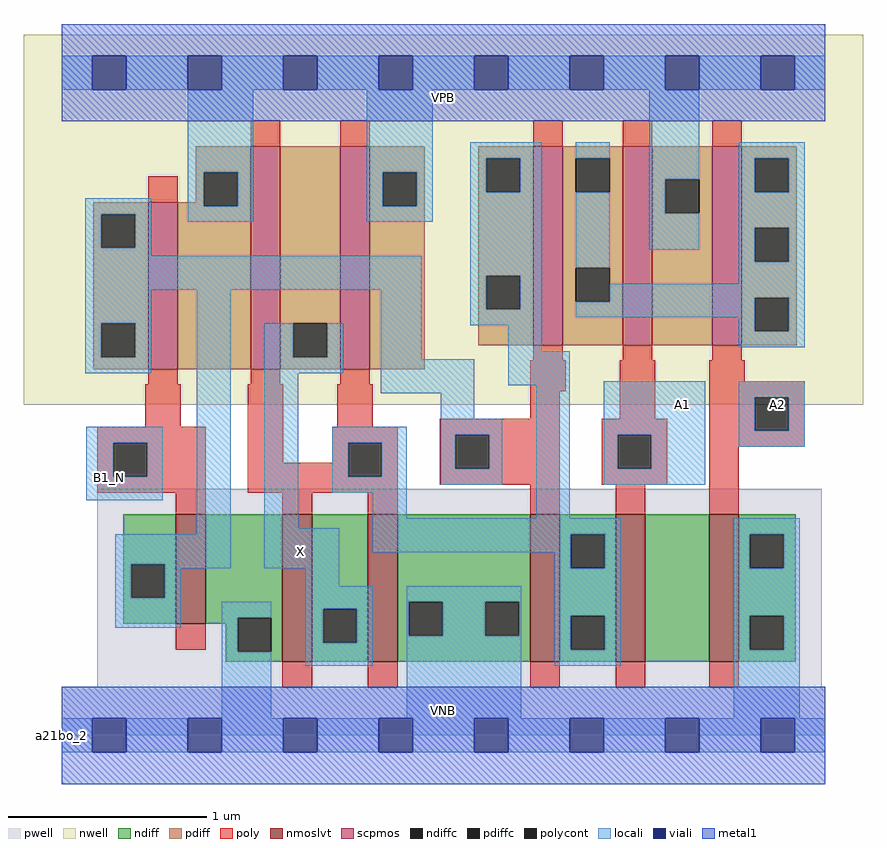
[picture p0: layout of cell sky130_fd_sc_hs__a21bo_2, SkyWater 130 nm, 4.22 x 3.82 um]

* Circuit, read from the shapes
.subckt sky130_fd_sc_hs__a21bo_2 A1 A2 B1_N VGND VNB VPB VPWR X
XM1 VGND B1_N n1 VNB sky130_fd_pr__nfet_01v8_lvt w=0.55 l=0.15
XM2 X n2 VGND VNB sky130_fd_pr__nfet_01v8_lvt w=0.74 l=0.15 m=2
XM3 n2 n1 VGND VNB sky130_fd_pr__nfet_01v8_lvt w=0.74 l=0.15
XM4 n3 A1 n2 VNB sky130_fd_pr__nfet_01v8_lvt w=0.74 l=0.15
XM5 VGND A2 n3 VNB sky130_fd_pr__nfet_01v8_lvt w=0.74 l=0.15
XM6 VPWR B1_N n1 VPB sky130_fd_pr__pfet_01v8 w=0.84 l=0.15
XM7 X n2 VPWR VPB sky130_fd_pr__pfet_01v8 w=1.12 l=0.15 m=2
XM8 n4 n1 n2 VPB sky130_fd_pr__pfet_01v8 w=1 l=0.15
XM9 VPWR A1 n4 VPB sky130_fd_pr__pfet_01v8 w=1 l=0.15
XM10 n4 A2 VPWR VPB sky130_fd_pr__pfet_01v8 w=1 l=0.15
.ends

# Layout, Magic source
magic
tech sky130A
magscale 1 2
<< nwell >>
rect -38 332 806 704
<< pwell >>
rect 36 49 764 248
rect 0 0 768 49
<< scpmos >>
rect 87 368 117 536
rect 190 368 220 592
rect 280 368 310 592
rect 474 392 504 592
rect 564 392 594 592
rect 654 392 684 592
<< nmoslvt >>
rect 115 112 145 222
rect 222 74 252 222
rect 308 74 338 222
rect 471 74 501 222
rect 557 74 587 222
rect 651 74 681 222
<< ndiff >>
rect 62 172 115 222
rect 62 138 70 172
rect 104 138 115 172
rect 62 112 115 138
rect 145 118 222 222
rect 145 112 177 118
rect 165 84 177 112
rect 211 84 222 118
rect 165 74 222 84
rect 252 127 308 222
rect 252 93 263 127
rect 297 93 308 127
rect 252 74 308 93
rect 338 134 471 222
rect 338 100 349 134
rect 383 100 426 134
rect 460 100 471 134
rect 338 74 471 100
rect 501 202 557 222
rect 501 168 512 202
rect 546 168 557 202
rect 501 120 557 168
rect 501 86 512 120
rect 546 86 557 120
rect 501 74 557 86
rect 587 74 651 222
rect 681 202 738 222
rect 681 168 692 202
rect 726 168 738 202
rect 681 120 738 168
rect 681 86 692 120
rect 726 86 738 120
rect 681 74 738 86
<< pdiff >>
rect 135 566 190 592
rect 135 536 143 566
rect 32 524 87 536
rect 32 490 40 524
rect 74 490 87 524
rect 32 414 87 490
rect 32 380 40 414
rect 74 380 87 414
rect 32 368 87 380
rect 117 532 143 536
rect 177 532 190 566
rect 117 368 190 532
rect 220 414 280 592
rect 220 380 233 414
rect 267 380 280 414
rect 220 368 280 380
rect 310 566 365 592
rect 310 532 323 566
rect 357 532 365 566
rect 310 368 365 532
rect 419 580 474 592
rect 419 546 427 580
rect 461 546 474 580
rect 419 462 474 546
rect 419 428 427 462
rect 461 428 474 462
rect 419 392 474 428
rect 504 580 564 592
rect 504 546 517 580
rect 551 546 564 580
rect 504 470 564 546
rect 504 436 517 470
rect 551 436 564 470
rect 504 392 564 436
rect 594 559 654 592
rect 594 525 607 559
rect 641 525 654 559
rect 594 392 654 525
rect 684 580 739 592
rect 684 546 697 580
rect 731 546 739 580
rect 684 510 739 546
rect 684 476 697 510
rect 731 476 739 510
rect 684 440 739 476
rect 684 406 697 440
rect 731 406 739 440
rect 684 392 739 406
<< ndiffc >>
rect 70 138 104 172
rect 177 84 211 118
rect 263 93 297 127
rect 349 100 383 134
rect 426 100 460 134
rect 512 168 546 202
rect 512 86 546 120
rect 692 168 726 202
rect 692 86 726 120
<< pdiffc >>
rect 40 490 74 524
rect 40 380 74 414
rect 143 532 177 566
rect 233 380 267 414
rect 323 532 357 566
rect 427 546 461 580
rect 427 428 461 462
rect 517 546 551 580
rect 517 436 551 470
rect 607 525 641 559
rect 697 546 731 580
rect 697 476 731 510
rect 697 406 731 440
<< poly >>
rect 190 592 220 618
rect 280 592 310 618
rect 474 592 504 618
rect 564 592 594 618
rect 654 592 684 618
rect 87 536 117 562
rect 474 377 504 392
rect 564 377 594 392
rect 654 377 684 392
rect 87 353 117 368
rect 190 353 220 368
rect 280 353 310 368
rect 84 310 120 353
rect 36 294 145 310
rect 36 260 52 294
rect 86 260 145 294
rect 36 244 145 260
rect 187 274 223 353
rect 277 310 313 353
rect 471 346 507 377
rect 471 318 501 346
rect 561 318 597 377
rect 651 356 687 377
rect 651 340 747 356
rect 272 294 338 310
rect 272 274 288 294
rect 187 260 288 274
rect 322 260 338 294
rect 187 244 338 260
rect 380 302 501 318
rect 380 268 396 302
rect 430 268 501 302
rect 380 252 501 268
rect 543 302 609 318
rect 543 268 559 302
rect 593 268 609 302
rect 543 252 609 268
rect 651 306 697 340
rect 731 306 747 340
rect 651 290 747 306
rect 115 222 145 244
rect 222 222 252 244
rect 308 222 338 244
rect 471 222 501 252
rect 557 222 587 252
rect 651 222 681 290
rect 115 86 145 112
rect 222 48 252 74
rect 308 48 338 74
rect 471 48 501 74
rect 557 48 587 74
rect 651 48 681 74
<< polycont >>
rect 52 260 86 294
rect 288 260 322 294
rect 396 268 430 302
rect 559 268 593 302
rect 697 306 731 340
<< locali >>
rect 0 649 31 683
rect 65 649 127 683
rect 161 649 223 683
rect 257 649 319 683
rect 353 649 415 683
rect 449 649 511 683
rect 545 649 607 683
rect 641 649 703 683
rect 737 649 768 683
rect 127 566 193 649
rect 24 524 90 540
rect 24 490 40 524
rect 74 490 90 524
rect 127 532 143 566
rect 177 532 193 566
rect 127 516 193 532
rect 307 566 373 649
rect 307 532 323 566
rect 357 532 373 566
rect 307 516 373 532
rect 411 580 483 596
rect 411 546 427 580
rect 461 546 483 580
rect 24 482 90 490
rect 24 448 362 482
rect 24 414 90 448
rect 24 380 40 414
rect 74 380 90 414
rect 24 364 90 380
rect 25 294 102 310
rect 25 260 52 294
rect 86 260 102 294
rect 25 236 102 260
rect 136 202 170 448
rect 54 172 170 202
rect 54 138 70 172
rect 104 168 170 172
rect 204 380 233 414
rect 267 380 283 414
rect 204 364 283 380
rect 321 378 362 448
rect 411 462 483 546
rect 411 428 427 462
rect 461 428 483 462
rect 411 412 483 428
rect 517 580 551 596
rect 517 470 551 546
rect 591 559 641 649
rect 591 525 607 559
rect 591 488 641 525
rect 681 580 747 596
rect 681 546 697 580
rect 731 546 747 580
rect 681 510 747 546
rect 681 476 697 510
rect 731 476 747 510
rect 681 454 747 476
rect 551 440 747 454
rect 551 436 697 440
rect 517 420 697 436
rect 449 386 483 412
rect 681 406 697 420
rect 731 406 747 440
rect 681 390 747 406
rect 204 208 238 364
rect 321 344 415 378
rect 449 352 511 386
rect 381 318 415 344
rect 272 294 347 310
rect 272 260 288 294
rect 322 260 347 294
rect 272 244 347 260
rect 381 302 443 318
rect 381 268 396 302
rect 430 268 443 302
rect 381 252 443 268
rect 313 218 347 244
rect 477 218 511 352
rect 545 302 647 356
rect 545 268 559 302
rect 593 268 647 302
rect 681 340 747 356
rect 681 306 697 340
rect 731 306 747 340
rect 681 290 747 306
rect 545 252 647 268
rect 204 168 279 208
rect 313 202 562 218
rect 313 184 512 202
rect 104 138 120 168
rect 54 108 120 138
rect 245 150 279 168
rect 496 168 512 184
rect 546 168 562 202
rect 161 118 211 134
rect 161 84 177 118
rect 161 17 211 84
rect 245 127 313 150
rect 245 93 263 127
rect 297 93 313 127
rect 245 70 313 93
rect 347 134 462 150
rect 347 100 349 134
rect 383 100 426 134
rect 460 100 462 134
rect 347 17 462 100
rect 496 120 562 168
rect 496 86 512 120
rect 546 86 562 120
rect 496 70 562 86
rect 676 202 742 218
rect 676 168 692 202
rect 726 168 742 202
rect 676 120 742 168
rect 676 86 692 120
rect 726 86 742 120
rect 676 17 742 86
rect 0 -17 31 17
rect 65 -17 127 17
rect 161 -17 223 17
rect 257 -17 319 17
rect 353 -17 415 17
rect 449 -17 511 17
rect 545 -17 607 17
rect 641 -17 703 17
rect 737 -17 768 17
<< viali >>
rect 31 649 65 683
rect 127 649 161 683
rect 223 649 257 683
rect 319 649 353 683
rect 415 649 449 683
rect 511 649 545 683
rect 607 649 641 683
rect 703 649 737 683
rect 31 -17 65 17
rect 127 -17 161 17
rect 223 -17 257 17
rect 319 -17 353 17
rect 415 -17 449 17
rect 511 -17 545 17
rect 607 -17 641 17
rect 703 -17 737 17
<< metal1 >>
rect 0 683 768 715
rect 0 649 31 683
rect 65 649 127 683
rect 161 649 223 683
rect 257 649 319 683
rect 353 649 415 683
rect 449 649 511 683
rect 545 649 607 683
rect 641 649 703 683
rect 737 649 768 683
rect 0 617 768 649
rect 0 17 768 49
rect 0 -17 31 17
rect 65 -17 127 17
rect 161 -17 223 17
rect 257 -17 319 17
rect 353 -17 415 17
rect 449 -17 511 17
rect 545 -17 607 17
rect 641 -17 703 17
rect 737 -17 768 17
rect 0 -49 768 -17
<< labels >>
rlabel comment s 0 0 0 0 4 a21bo_2
flabel pwell s 0 0 768 49 0 FreeSans 200 0 0 0 VNB
port 5 nsew ground bidirectional
flabel nwell s 0 617 768 666 0 FreeSans 200 0 0 0 VPB
port 6 nsew power bidirectional
flabel metal1 s 0 617 768 666 0 FreeSans 340 0 0 0 VPWR
port 7 nsew power bidirectional
flabel metal1 s 0 0 768 49 0 FreeSans 340 0 0 0 VGND
port 4 nsew ground bidirectional
flabel locali s 31 242 65 276 0 FreeSans 340 0 0 0 B1_N
port 3 nsew signal input
flabel locali s 703 316 737 350 0 FreeSans 340 0 0 0 A2
port 2 nsew signal input
flabel locali s 607 316 641 350 0 FreeSans 340 0 0 0 A1
port 1 nsew signal input
flabel locali s 223 168 257 202 0 FreeSans 340 0 0 0 X
port 8 nsew signal output
<< properties >>
string LEFsite unit
string LEFclass CORE
string FIXED_BBOX 0 0 768 666
string GDS_FILE $PDKPATH/libs.ref/sky130_fd_sc_hs/gds/sky130_fd_sc_hs.gds
string LEFsymmetry X Y
string GDS_END 1761932
string GDS_START 1755204
<< end >>
